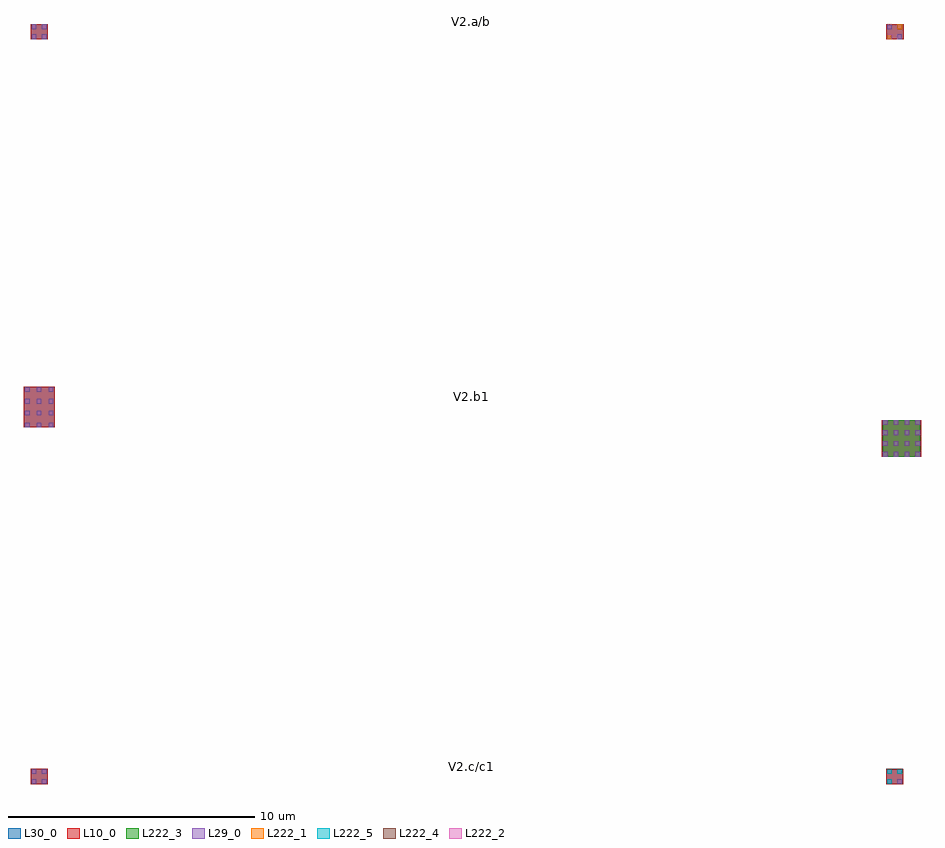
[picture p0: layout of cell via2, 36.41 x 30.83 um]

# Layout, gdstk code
import gdstk
lib = gdstk.Library(unit=1e-6, precision=1e-09)
def R(c, l, rs):  # rectangles x0, y0, x1, y1
    for r in rs: c.add(gdstk.rectangle(r[:2], r[2:], *l))
def A(c, l, x, y, w, h, nx, ny, dx, dy):  # array of equal rectangles
    R(c, l, [(x+i*dx, y+j*dy, x+i*dx+w, y+j*dy+h) for i in range(nx) for j in range(ny)])
def P(c, l, *ps):  # polygons
    for p in ps: c.add(gdstk.Polygon(p, *l))
L10_0 = (10, 0)
L29_0 = (29, 0)
L30_0 = (30, 0)
L222_1 = (222, 1)
L222_2 = (222, 2)
L222_3 = (222, 3)
L222_4 = (222, 4)
L222_5 = (222, 5)

via2 = lib.new_cell('via2')
R(via2, L10_0, [(-17.885,-38.175,-17.185,-37.565), (16.825,-38.175,17.52,-37.57), (16.64,-24.895,18.25,-23.41), (-18.16,-23.71,-16.91,-22.07), (-17.885,-7.965,-17.185,-7.355), (16.82,-7.965,17.53,-7.345)])
A(via2, L29_0, 16.69, -24.89, 0.19, 0.19, 4, 3, 0.44, 0.435)
A(via2, L29_0, -18.11, -23.705, 0.19, 0.19, 3, 4, 0.48, 0.48)
A(via2, L29_0, 16.69, -23.605, 0.19, 0.19, 4, 1, 0.44, 0)
R(via2, L29_0, [(-17.835,-38.17,-17.645,-37.98), (-17.425,-38.17,-17.235,-37.98), (16.87,-38.17,17.06,-37.98), (17.28,-38.17,17.47,-37.98), (-17.835,-37.76,-17.645,-37.57), (-17.425,-37.76,-17.235,-37.57), (16.87,-37.76,17.06,-37.57), (17.28,-37.76,17.47,-37.57), (-17.835,-7.96,-17.645,-7.77), (-17.425,-7.96,-17.235,-7.77), (17.27,-7.96,17.46,-7.77), (16.875,-7.955,17.06,-7.77), (16.87,-7.56,17.06,-7.37), (-17.835,-7.55,-17.645,-7.36), (-17.425,-7.55,-17.235,-7.36), (17.28,-7.55,17.48,-7.35)])
R(via2, L30_0, [(-17.885,-38.175,-17.185,-37.565), (16.825,-38.175,17.52,-37.565), (16.64,-24.895,18.25,-23.41), (-18.16,-23.71,-16.91,-22.07), (-17.885,-7.965,-17.185,-7.355), (16.82,-7.965,17.53,-7.345)])
R(via2, L222_1, [(16.875,-7.955,17.06,-7.77), (16.875,-7.955,17.06,-7.77), (17.28,-7.55,17.48,-7.35), (17.28,-7.55,17.48,-7.35)])
R(via2, L222_2, [(17.265,-7.96,17.275,-7.77), (17.055,-7.955,17.065,-7.77), (16.875,-7.775,17.06,-7.765), (16.87,-7.565,17.06,-7.555)])
A(via2, L222_3, 16.69, -24.89, 0.19, 0.19, 4, 2, 0.44, 1.285)
R(via2, L222_3, [(16.69,-24.455,16.88,-24.265), (17.13,-24.455,17.32,-24.265), (17.13,-24.455,17.32,-24.265), (17.57,-24.455,17.76,-24.265), (17.57,-24.455,17.76,-24.265), (18.01,-24.455,18.2,-24.265), (16.69,-24.02,16.88,-23.83), (17.13,-24.02,17.32,-23.83), (17.13,-24.02,17.32,-23.83), (17.57,-24.02,17.76,-23.83), (17.57,-24.02,17.76,-23.83), (18.01,-24.02,18.2,-23.83)])
P(via2, L222_3, [(16.88,-24.89),(16.88,-24.7),(16.69,-24.7),(16.69,-24.455),(16.88,-24.455),(16.88,-24.265),(16.69,-24.265),(16.69,-24.02),(16.88,-24.02),(16.88,-23.83),(16.69,-23.83),(16.69,-23.605),(16.88,-23.605),(16.88,-23.415),(17.13,-23.415),(17.13,-23.605),(17.32,-23.605),(17.32,-23.415),(17.57,-23.415),(17.57,-23.605),(17.76,-23.605),(17.76,-23.415),(18.01,-23.415),(18.01,-23.605),(18.2,-23.605),(18.2,-23.83),(18.01,-23.83),(18.01,-24.02),(18.2,-24.02),(18.2,-24.265),(18.01,-24.265),(18.01,-24.455),(18.2,-24.455),(18.2,-24.7),(18.01,-24.7),(18.01,-24.89),(17.76,-24.89),(17.76,-24.7),(17.57,-24.7),(17.57,-24.89),(17.32,-24.89),(17.32,-24.7),(17.13,-24.7),(17.13,-24.89)])
R(via2, L222_4, [(16.865,-37.575,17.065,-37.565), (16.87,-37.575,17.06,-37.565), (17.275,-37.575,17.475,-37.565), (17.28,-37.575,17.47,-37.565)])
R(via2, L222_5, [(16.87,-38.17,17.06,-37.98), (16.87,-37.76,17.06,-37.57), (17.28,-37.76,17.47,-37.57)])
via2.add(gdstk.Label('V2.a/b', (0,-7.245), layer=63, texttype=0))
via2.add(gdstk.Label('V2.b1', (0,-22.475), layer=63, texttype=0))
via2.add(gdstk.Label('V2.c/c1', (0,-37.455), layer=63, texttype=0))
via2.add(gdstk.Label('PASS', (-12,5), layer=63, texttype=0))
via2.add(gdstk.Label('FAIL', (12,5), layer=63, texttype=0))
via2.add(gdstk.Label('5.20 Vian', (0,21), layer=63, texttype=0))

lib.write_gds('via2.gds')
